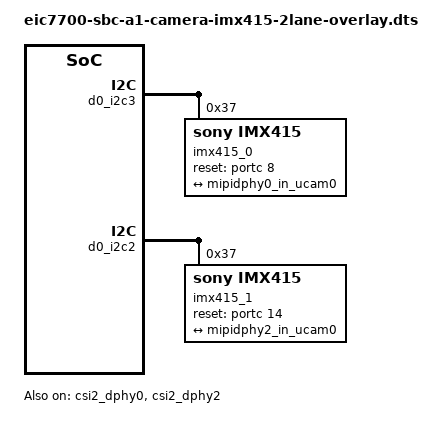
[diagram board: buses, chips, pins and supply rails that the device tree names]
// SPDX-License-Identifier: GPL-2.0
/*
 * Device Tree file for Eswin EIC7700 SoC.
 *
 * Copyright 2026, Beijing ESWIN Computing Technology Co., Ltd.. All rights reserved.
 * SPDX-License-Identifier: GPL-2.0
 *
 * This program is free software: you can redistribute it and/or modify
 * it under the terms of the GNU General Public License as published by
 * the Free Software Foundation, version 2.
 *
 * This program is distributed in the hope that it will be useful,
 * but WITHOUT ANY WARRANTY; without even the implied warranty of
 * MERCHANTABILITY or FITNESS FOR A PARTICULAR PURPOSE.  See the
 * GNU General Public License for more details.
 *
 * You should have received a copy of the GNU General Public License
 * along with this program.  If not, see <https://www.gnu.org/licenses/>.
 */

/dts-v1/;
/plugin/;

/ {
	fragment@0 {
		target = <&mipidphy0_in_ucam0>;
		__overlay__ {
			remote-endpoint = <&imx415_out0>;
			data-lanes = <1 2>;
		};
	};

	fragment@1 {
		target = <&mipidphy2_in_ucam0>;
		__overlay__ {
			remote-endpoint = <&imx415_out1>;
			data-lanes = <1 2>;
		};
	};

	fragment@2 {
		target = <&csi2_dphy0>;
		__overlay__ {
			status = "okay";
		};
	};

	fragment@3 {
		target = <&csi2_dphy2>;
		__overlay__ {
			status = "okay";
		};
	};

	fragment@4 {
		target = <&d0_i2c3>;
		__overlay__ {
			#address-cells = <1>;
			#size-cells = <0>;
			imx415_0:imx415_0@37 {
				compatible = "sony,imx415";
				reg = <0x37>;
				clock-names="inck";
				clocks = <&d0_clock 0x244>;
				assigned-clocks = <&d0_clock 0x244>;
				assigned-clock-rates = <24000000>;
				pinctrl-names = "default";
				pinctrl-0 = <&pinctrl_gpio72_default>;
				reset-gpio = <&portc 8 0>;
				eswin,camera-hdr-mode = <0>;
				power-domains = <&d0_pmu 2>;
				status = "okay";
				port {
					imx415_out0:endpoint {
						remote-endpoint = <&mipidphy0_in_ucam0>;
						data-lanes = <1 2>;
						link-frequencies = /bits/ 64 <360000000>;
					};
				};
			};
		};
	};

	fragment@5 {
		target =  <&d0_i2c2>;
		__overlay__ {
			#address-cells = <1>;
			#size-cells = <0>;
			imx415_1:imx415_1@37 {
				compatible = "sony,imx415";
				reg = <0x37>;
				clock-names="inck";
				clocks = <&d0_clock 0x244>;
				assigned-clocks = <&d0_clock 0x244>;
				assigned-clock-rates = <24000000>;
				pinctrl-names = "default";
				pinctrl-0 = <&pinctrl_gpio78_default>;
				reset-gpio = <&portc 14 0>;
				eswin,camera-hdr-mode = <0>;
				power-domains = <&d0_pmu 2>;
				status = "okay";
				port {
					imx415_out1: endpoint {
						remote-endpoint = <&mipidphy2_in_ucam0>;
						data-lanes = <1 2>;
						link-frequencies = /bits/ 64 <360000000>;
					};
				};
			};
		};
	};

	fragment@6 {
		target = <&mipi_csi2_0>;
		__overlay__ {
			num_lanes = <2>;
			eswin,csi-hdr-mode = <0>;
		};
	};

	fragment@7 {
		target = <&mipi_csi2_2>;
		__overlay__ {
			num_lanes = <2>;
			eswin,csi-hdr-mode = <0>;
		};
	};

	fragment@8 {
		target = <&dvp2axi_mipi_lvds0>;
		__overlay__ {
			eswin,dvp2axi-hdr-mode = <0>;
		};
	};

	fragment@9 {
		target = <&dvp2axi_mipi_lvds1>;
		__overlay__ {
			eswin,dvp2axi-hdr-mode = <0>;
		};
	};

	fragment@10 {
		target = <&dvp2axi_mipi_lvds2>;
		__overlay__ {
			eswin,dvp2axi-hdr-mode = <0>;
		};
	};

	fragment@11 {
		target = <&dvp2axi_mipi_lvds3>;
		__overlay__ {
			eswin,dvp2axi-hdr-mode = <0>;
		};
	};

	fragment@12 {
		target = <&imx219_0>;
		__overlay__ {
			status="disabled";
		};
	};

	fragment@13 {
		target = <&imx219_1>;
		__overlay__ {
			status="disabled";
		};
	};

	fragment@14 {
		target = <&csi2_dphy_hw0>;
		__overlay__ {
			lanes = <1 2>;
			lanes-dp-dn = <0 0>;
		};
	};

	fragment@15 {
		target = <&csi2_dphy_hw2>;
		__overlay__ {
			lanes = <1 2>;
			lanes-dp-dn = <0 0>;
		};
	};

	fragment@16 {
		target = <&vi_subsys>;
		__overlay__ {
			phy_mode = <5>;
		};
	};

};
